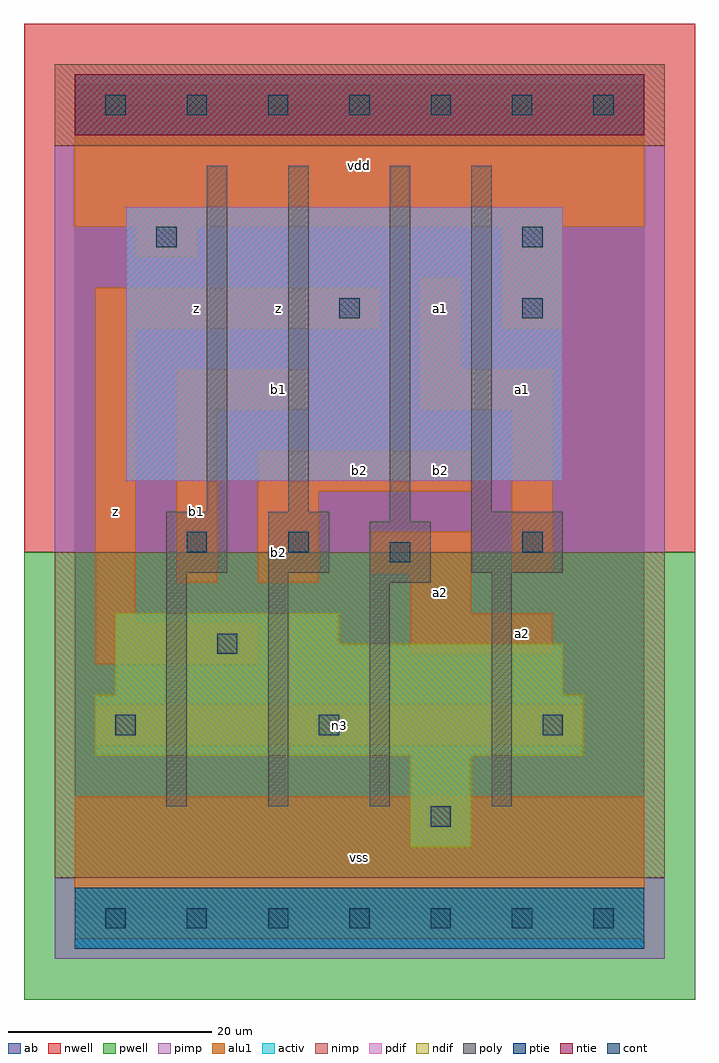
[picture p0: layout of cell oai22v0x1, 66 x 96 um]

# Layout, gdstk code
import gdstk
lib = gdstk.Library(unit=1e-6, precision=1e-09)
def R(c, l, rs):  # rectangles x0, y0, x1, y1
    for r in rs: c.add(gdstk.rectangle(r[:2], r[2:], *l))
def A(c, l, x, y, w, h, nx, ny, dx, dy):  # array of equal rectangles
    R(c, l, [(x+i*dx, y+j*dy, x+i*dx+w, y+j*dy+h) for i in range(nx) for j in range(ny)])
ndif = (3, 0)
pdif = (4, 0)
ntie = (5, 0)
ptie = (6, 0)
cont = (25, 0)
pwell = (41, 0)
nwell = (42, 0)
activ = (43, 0)
pimp = (44, 0)
nimp = (45, 0)
poly = (46, 0)
alu1 = (49, 0)
ab = (63, 0)

oai22v0x1 = lib.new_cell('oai22v0x1')
R(oai22v0x1, ndif, [(33,7,39,16), (2,16,50,22), (4,22,48,27), (4,27,26,30)])
R(oai22v0x1, pdif, [(5,43,48,70)])
R(oai22v0x1, ntie, [(0,77,56,83)])
R(oai22v0x1, ptie, [(0,-3,56,3)])
A(oai22v0x1, cont, 3, -1, 2, 2, 7, 2, 8, 80)
R(oai22v0x1, cont, [(35,9,37,11), (4,18,6,20), (24,18,26,20), (46,18,48,20), (14,26,16,28), (31,35,33,37), (11,36,13,38), (21,36,23,38), (44,36,46,38), (26,59,28,61), (44,59,46,61), (8,66,10,68), (44,66,46,68)])
R(oai22v0x1, pwell, [(-5,-8,61,36)])
R(oai22v0x1, nwell, [(-5,36,61,88)])
R(oai22v0x1, activ, [(0,-3,56,3), (33,7,39,16), (2,16,50,22), (4,22,48,27), (4,27,26,30), (5,43,48,70), (0,77,56,83)])
R(oai22v0x1, pimp, [(-2,-4,58,4), (-2,36,58,76)])
R(oai22v0x1, nimp, [(-2,4,58,36), (-2,76,58,84)])
R(oai22v0x1, poly, [(9,11,11,34), (19,11,21,34), (29,11,31,33), (41,11,43,34), (29,33,35,39), (9,34,15,40), (19,34,25,40), (39,34,48,40), (31,39,33,74), (13,40,15,74), (21,40,23,74), (39,40,41,74)])
R(oai22v0x1, alu1, [(0,-2,56,12), (2,17,50,21), (2,25,18,29), (33,26,47,30), (2,29,6,58), (33,30,39,34), (10,33,14,50), (18,33,24,42), (29,34,39,38), (43,34,47,50), (18,42,39,46), (10,50,23,54), (34,50,47,54), (34,54,38,63), (2,58,30,62), (42,58,48,68), (6,65,12,68), (0,68,56,82)])
R(oai22v0x1, ab, [(0,0,56,80)])
oai22v0x1.add(gdstk.Label('n3', (26,19), layer=49, texttype=0))
oai22v0x1.add(gdstk.Label('z', (4,40), layer=49, texttype=0))
oai22v0x1.add(gdstk.Label('b2', (20,36), layer=49, texttype=0))
oai22v0x1.add(gdstk.Label('b1', (12,40), layer=49, texttype=0))
oai22v0x1.add(gdstk.Label('b1', (20,52), layer=49, texttype=0))
oai22v0x1.add(gdstk.Label('z', (20,60), layer=49, texttype=0))
oai22v0x1.add(gdstk.Label('z', (12,60), layer=49, texttype=0))
oai22v0x1.add(gdstk.Label('vss', (28,6), layer=49, texttype=0))
oai22v0x1.add(gdstk.Label('a2', (36,32), layer=49, texttype=0))
oai22v0x1.add(gdstk.Label('b2', (36,44), layer=49, texttype=0))
oai22v0x1.add(gdstk.Label('b2', (28,44), layer=49, texttype=0))
oai22v0x1.add(gdstk.Label('a1', (36,60), layer=49, texttype=0))
oai22v0x1.add(gdstk.Label('vdd', (28,74), layer=49, texttype=0))
oai22v0x1.add(gdstk.Label('a2', (44,28), layer=49, texttype=0))
oai22v0x1.add(gdstk.Label('a1', (44,52), layer=49, texttype=0))

lib.write_gds('oai22v0x1.gds')
